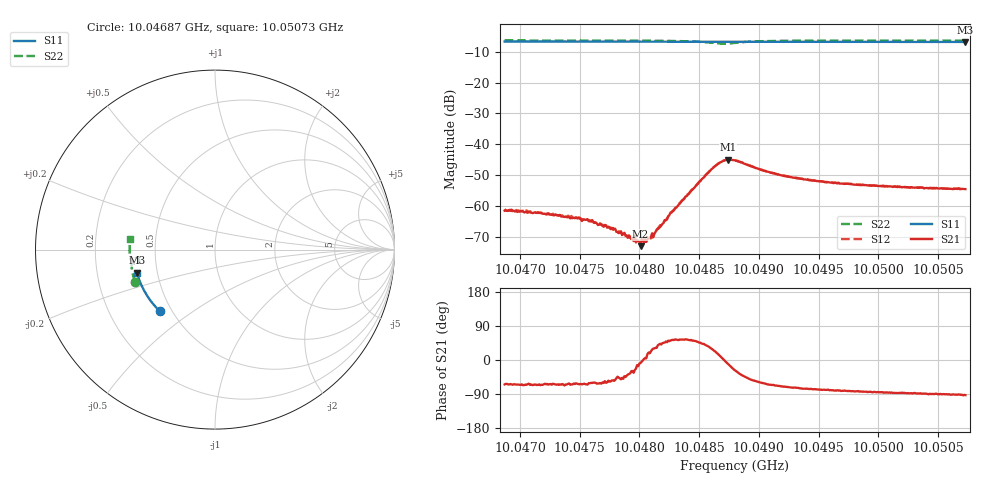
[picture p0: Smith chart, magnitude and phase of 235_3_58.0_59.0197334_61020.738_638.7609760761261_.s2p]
#  HZ  S  RI  R  50.00
! Rohde & Schwarz Vector Network Analyzer
! Rohde-Schwarz,ZNB20-2Port,1311601062101988,3.16
! Created: UTC 3/21/2024, 1:00:50 AM
! freq[Hz]  re:S11  im:S11  re:S21  im:S21  re:S12  im:S12  re:S22  im:S22
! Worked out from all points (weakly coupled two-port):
!   401 points, 10.04687 GHz to 10.05073 GHz, reference 50 ohm
!   highest |S21| = -44.98 dB at 10.04874 GHz (marker M1); lowest = -73.0 dB at 10.04801 GHz (marker M2)
!   lowest |S11| = -6.9 dB at 10.05073 GHz (marker M3), VSWR 2.66, Z = 19.1 - j6.24 ohm
!   |S11| at or under -10 dB: nowhere
!   |S22| runs from -7.4 to -6.4 dB; largest |S21 - S12| = 0.00039
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1.0046872e10  -0.3057 -0.3445  0.000363 -0.000761  0.000438 -0.000779  -0.445 -0.1788
1.0047161e10  -0.3192 -0.3311  0.000335 -0.000697  0.00039 -0.000686  -0.4513 -0.16
1.0047518e10  -0.3353 -0.3137  0.00025 -0.000516  0.000308 -0.000526  -0.4583 -0.1359
1.0047585e10  -0.3383 -0.3104  0.000275 -0.0005  0.0003 -0.000513  -0.4593 -0.1313
1.004773e10  -0.3446 -0.3031  0.000232 -0.000383  0.000284 -0.000386  -0.4618 -0.1209
1.0047981e10  -0.3549 -0.2901  0.000272 -6.65e-05  0.000263 -8.11e-05  -0.4645 -0.1021
1.0047991e10  -0.3552 -0.2895  0.000263 -7.69e-05  0.000259 -9.29e-05  -0.4645 -0.1014
1.004801e10  -0.3559 -0.2886  0.000222 -3.14e-05  0.000254 -1.74e-05  -0.4649 -0.0997
1.0048058e10  -0.358 -0.2861  0.000262 2.05e-05  0.000295 8.17e-05  -0.4651 -0.0959
1.0048087e10  -0.3589 -0.2844  0.00029 9.22e-05  0.00029 0.000117  -0.4652 -0.0934
1.0048135e10  -0.361 -0.2819  0.000324 0.000204  0.000323 0.000231  -0.4654 -0.0892
1.0048164e10  -0.3621 -0.2804  0.000333 0.000289  0.000341 0.000309  -0.4655 -0.0867
1.004828e10  -0.3665 -0.2742  0.000496 0.000664  0.000473 0.000695  -0.4645 -0.076
1.0048608e10  -0.3783 -0.2561  0.00351 0.00195  0.00343 0.00216  -0.4364 -0.0468
1.0048675e10  -0.3803 -0.2522  0.00499 0.000932  0.00494 0.00122  -0.4238 -0.0544
1.0048743e10  -0.3827 -0.2486  0.00553 -0.00105  0.00563 -0.000699  -0.422 -0.0699
1.0048801e10  -0.3848 -0.2457  0.00489 -0.00253  0.00504 -0.00222  -0.4308 -0.0795
1.0049138e10  -0.396 -0.2265  0.00127 -0.00309  0.00149 -0.00301  -0.4678 -0.0577
1.0049447e10  -0.4053 -0.2083  0.000576 -0.00253  0.000749 -0.00251  -0.4742 -0.0312
1.0049813e10  -0.4154 -0.1863  0.000291 -0.00219  0.000415 -0.00221  -0.4764 -0.00367
1.0050093e10  -0.4221 -0.1691  0.000161 -0.00208  0.000265 -0.00205  -0.476 0.0162
1.005073e10  -0.435 -0.1294  -8.33e-05 -0.00188  2.3e-05 -0.00189  -0.4724 0.0595
